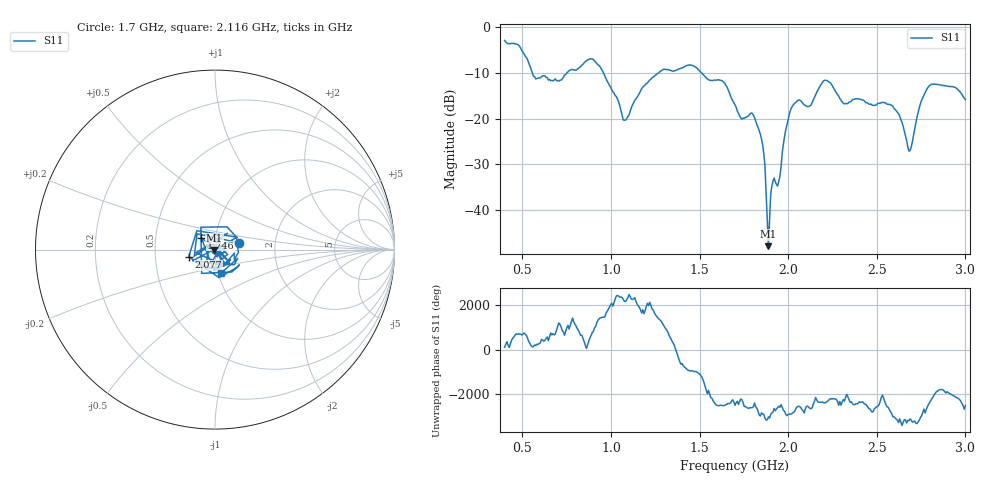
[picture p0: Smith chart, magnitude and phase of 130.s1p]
!Created with skrf (http://scikit-rf.org).
# Hz S RI R 50.0
!freq ReS11 ImS11
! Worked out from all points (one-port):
!   401 points, 400 MHz to 3 GHz, reference 50 ohm
!   lowest |S11| = -47.9 dB at 1.889 GHz (marker M1), VSWR 1.01, Z = 49.7 - j0.224 ohm
!   |S11| at or under -10 dB: 556.5 MHz to 750.8 MHz (194.3 MHz wide, 29.7 % of centre); 958.1 MHz to 1.269 GHz (310.9 MHz wide, 27.9 % of centre); 1.512 GHz to end of sweep
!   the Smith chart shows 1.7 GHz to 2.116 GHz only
!   S11 on the Smith chart (normalised r, x): 1.7 GHz: 1.31, +0.10; 1.746 GHz: 0.85, +0.11; 2.077 GHz: 0.74, -0.06; 2.116 GHz: 1.03, -0.28
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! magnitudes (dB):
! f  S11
! 400 MHz  -2.9
! 484.5 MHz  -4.2
! 575.5 MHz  -11.3
! 725 MHz  -11.3
! 894 MHz  -6.9
! 1.05 GHz  -17.2
! 1.083 GHz  -20.3
! 1.226 GHz  -11.4
! 1.375 GHz  -9.3
! 1.629 GHz  -11.8
! 1.7 GHz  -17.0
! 1.746 GHz  -19.9
! 1.798 GHz  -18.8
! 1.843 GHz  -23.4
! 1.856 GHz  -25.7
! 1.889 GHz  -47.9
! 1.915 GHz  -33.6
! 1.947 GHz  -33.7
! 1.986 GHz  -22.5
! 2.025 GHz  -17.2
! 2.077 GHz  -16.4
! 2.116 GHz  -17.3
! 2.207 GHz  -11.6
! 2.35 GHz  -16.3
! 2.584 GHz  -17.1
! 2.675 GHz  -26.2
! 2.799 GHz  -12.7
! 3 GHz  -15.8
